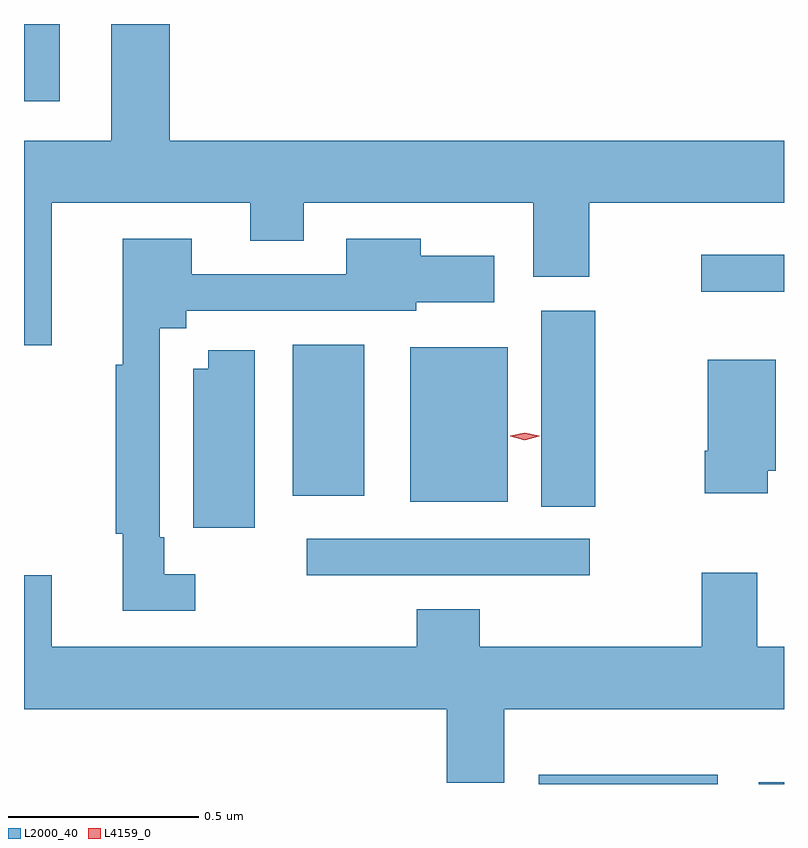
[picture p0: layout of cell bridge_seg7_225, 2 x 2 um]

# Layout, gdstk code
import gdstk
lib = gdstk.Library(unit=1e-6, precision=1e-09)
def R(c, l, rs):  # rectangles x0, y0, x1, y1
    for r in rs: c.add(gdstk.rectangle(r[:2], r[2:], *l))
def P(c, l, *ps):  # polygons
    for p in ps: c.add(gdstk.Polygon(p, *l))
L2000_40 = (2000, 40)
L4159_0 = (4159, 0)

bridge_seg7_225 = lib.new_cell('bridge_seg7_225')
R(bridge_seg7_225, L2000_40, [(322.298,1019.067,322.768,1019.092), (322.877,1019.067,322.943,1019.071), (321.687,1019.616,322.432,1019.712), (322.304,1019.797,322.446,1020.313), (321.959,1019.81,322.216,1020.217), (321.65,1019.825,321.838,1020.223), (322.725,1020.363,322.943,1020.46), (320.943,1020.864,321.037,1021.067)])
P(bridge_seg7_225, L2000_40, [(321.016,1020.596),(321.539,1020.596),(321.539,1020.497),(321.679,1020.497),(321.679,1020.596),(322.283,1020.596),(322.283,1020.402),(322.431,1020.402),(322.431,1020.596),(322.943,1020.596),(322.943,1020.76),(321.326,1020.76),(321.326,1021.067),(321.173,1021.067),(321.173,1020.76),(320.943,1020.76),(320.943,1020.222),(321.016,1020.222)],
  [(321.394,1019.619),(321.312,1019.619),(321.312,1019.716),(321.3,1019.716),(321.3,1020.266),(321.37,1020.266),(321.37,1020.312),(321.975,1020.312),(321.975,1020.335),(322.18,1020.335),(322.18,1020.457),(321.987,1020.457),(321.987,1020.502),(321.791,1020.502),(321.791,1020.408),(321.385,1020.408),(321.385,1020.502),(321.203,1020.502),(321.203,1020.17),(321.184,1020.17),(321.184,1019.726),(321.203,1019.726),(321.203,1019.523),(321.394,1019.523)],
  [(321.55,1020.209),(321.428,1020.209),(321.428,1020.16),(321.389,1020.16),(321.389,1019.742),(321.55,1019.742)],
  [(322.9,1019.892),(322.921,1019.892),(322.921,1020.184),(322.742,1020.184),(322.742,1019.944),(322.735,1019.944),(322.735,1019.832),(322.9,1019.832)],
  [(322.207,1019.264),(322.943,1019.264),(322.943,1019.428),(322.873,1019.428),(322.873,1019.623),(322.726,1019.623),(322.726,1019.428),(322.142,1019.428),(322.142,1019.527),(321.977,1019.527),(321.977,1019.428),(321.016,1019.428),(321.016,1019.617),(320.943,1019.617),(320.943,1019.264),(322.055,1019.264),(322.055,1019.07),(322.207,1019.07)])
P(bridge_seg7_225, L4159_0, [(322.261,1019.972),(322.223,1019.982),(322.223,1019.982),(322.223,1019.983),(322.261,1019.992),(322.299,1019.983),(322.299,1019.982),(322.299,1019.982)])

lib.write_gds('bridge_seg7_225.gds')
